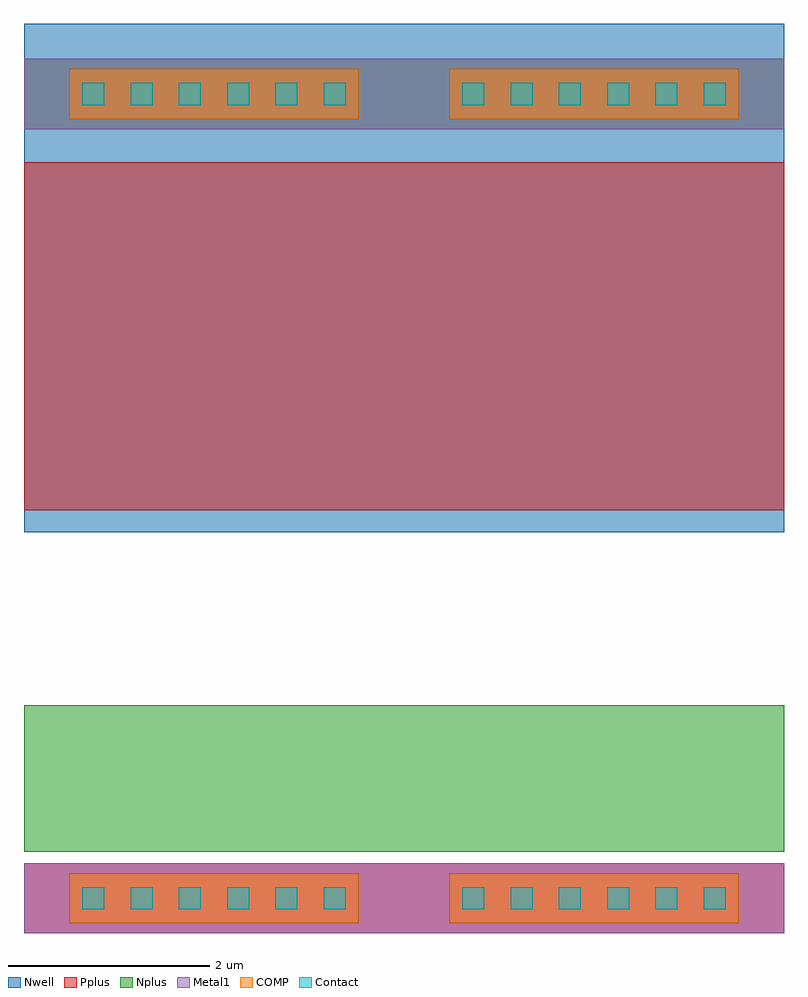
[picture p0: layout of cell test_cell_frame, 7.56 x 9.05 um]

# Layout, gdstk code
import gdstk
lib = gdstk.Library(unit=1e-6, precision=5e-09)
def R(c, l, rs):  # rectangles x0, y0, x1, y1
    for r in rs: c.add(gdstk.rectangle(r[:2], r[2:], *l))
def A(c, l, x, y, w, h, nx, ny, dx, dy):  # array of equal rectangles
    R(c, l, [(x+i*dx, y+j*dy, x+i*dx+w, y+j*dy+h) for i in range(nx) for j in range(ny)])
Nwell = (21, 0)
COMP = (22, 0)
Pplus = (31, 0)
Nplus = (32, 0)
Contact = (33, 0)
Metal1 = (34, 0)

test_cell_frame = lib.new_cell('test_cell_frame')
R(test_cell_frame, Nwell, [(0,3.99,3.78,9.05), (3.78,3.99,7.56,9.05)])
R(test_cell_frame, COMP, [(0.45,0.1,3.33,0.6), (4.23,0.1,7.11,0.6), (0.45,8.1,3.33,8.6), (4.23,8.1,7.11,8.6)])
R(test_cell_frame, Pplus, [(0,0,3.78,0.7), (3.78,0,7.56,0.7), (0,4.21,3.78,7.67), (3.78,4.21,7.56,7.67)])
R(test_cell_frame, Nplus, [(0,0.81,3.78,2.27), (3.78,0.81,7.56,2.27), (0,8,3.78,8.7), (3.78,8,7.56,8.7)])
A(test_cell_frame, Contact, 0.58, 0.24, 0.22, 0.22, 6, 2, 0.48, 8)
A(test_cell_frame, Contact, 4.36, 0.24, 0.22, 0.22, 6, 2, 0.48, 8)
test_cell_frame.add(gdstk.FlexPath([(0,8.35),(3.78,8.35)], 0.7, ends="flush", simple_path=True, layer=34, datatype=0))  # Metal1
test_cell_frame.add(gdstk.FlexPath([(0,0.35),(3.78,0.35)], 0.7, ends="flush", simple_path=True, layer=34, datatype=0))  # Metal1
test_cell_frame.add(gdstk.FlexPath([(3.78,8.35),(7.56,8.35)], 0.7, ends="flush", simple_path=True, layer=34, datatype=0))  # Metal1
test_cell_frame.add(gdstk.FlexPath([(3.78,0.35),(7.56,0.35)], 0.7, ends="flush", simple_path=True, layer=34, datatype=0))  # Metal1

lib.write_gds('test_cell_frame.gds')
